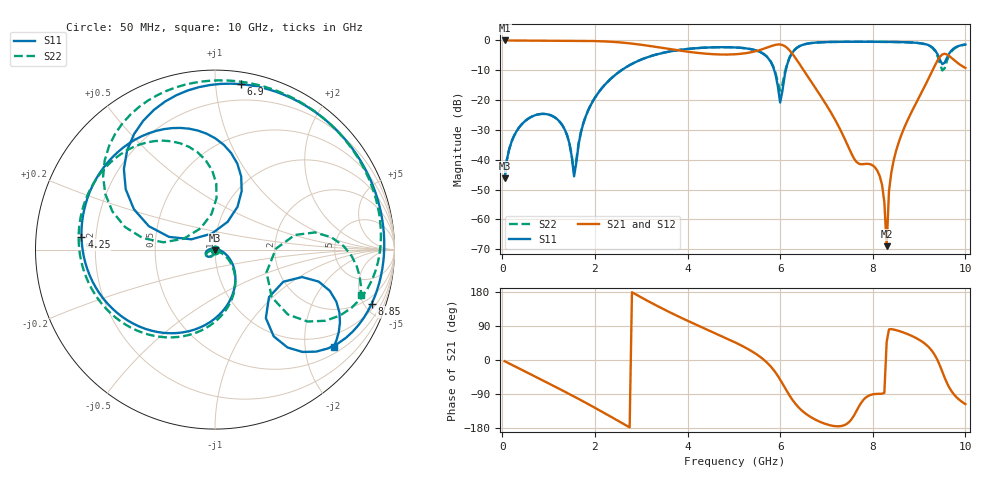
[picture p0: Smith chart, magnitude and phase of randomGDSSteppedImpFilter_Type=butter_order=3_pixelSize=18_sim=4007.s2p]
! freq	dB(S11)	phase(S11)	dB(S12)	phase(S12)
!  dB(S21)	phase(S21)	dB(S22)	phase(S22)
!S-par simulation data
#  GHz  S  DB  R 50
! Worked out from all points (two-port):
!   200 points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, 50 MHz to 10 GHz, reference 50 ohm
!   highest |S21| = 0.00 dB at 50 MHz (marker M1); lowest = -69.0 dB at 8.3 GHz (marker M2)
!   |S21| within 3 dB of the highest: start of sweep to 3.662 GHz; 5.604 GHz to 6.183 GHz (579.4 MHz wide, 9.83 % of centre)
!   lowest |S11| = -46.3 dB at 50 MHz (marker M3), VSWR 1.01, Z = 50 - j0.485 ohm
!   |S11| at or under -10 dB: start of sweep to 2.573 GHz; 5.872 GHz to 6.123 GHz (250.5 MHz wide, 4.18 % of centre)
!   |S22| runs from -46.2 to -0.4 dB; largest |S21 - S12| = 0
!   S11 on the Smith chart (normalised r, x): 50 MHz: 1.00, -0.01; 4.25 GHz: 0.14, +0.05; 6.9 GHz: 0.08, +1.16; 8.85 GHz: 1.36, -5.61; 10 GHz: 0.66, -2.65
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0.05  -46.28 -89.0  -0.00 -3.1  -0.00 -3.1  -46.18 -87.3
0.3  -30.65 -108.7  -0.04 -18.5  -0.04 -18.5  -30.66 -107.1
0.85  -24.64 -145.2  -0.08 -52.4  -0.08 -52.4  -24.64 -140.0
1.35  -29.92 177.7  -0.11 -83.6  -0.11 -83.6  -29.92 -164.5
1.55  -45.57 98.8  -0.12 -96.4  -0.12 -96.4  -43.91 -108.6
1.75  -27.82 -14.0  -0.14 -109.4  -0.14 -109.4  -27.71 -28.5
2.55  -10.25 -75.9  -0.67 -163.9  -0.67 -163.9  -10.22 -74.1
3.4  -4.42 -134.5  -2.37 139.2  -2.37 139.2  -4.41 -128.3
4.25  -2.53 174.6  -4.23 89.7  -4.23 89.7  -2.51 -175.3
5.05  -2.37 128.9  -4.61 45.1  -4.61 45.1  -2.35 143.1
5.75  -6.11 75.4  -2.21 -11.0  -2.21 -11.0  -6.00 96.0
6  -20.82 101.3  -1.36 -51.8  -1.36 -51.8  -16.89 124.2
6.25  -4.43 145.9  -4.19 -102.5  -4.19 -102.5  -4.29 159.6
6.7  -0.82 95.6  -14.51 -153.5  -14.51 -153.5  -0.81 113.9
6.9  -0.60 81.2  -19.23 -165.2  -19.23 -165.2  -0.60 100.5
8.15  -0.46 15.0  -45.48 -89.2  -45.48 -89.2  -0.47 36.7
8.3  -0.48 7.9  -68.98 47.7  -68.98 47.7  -0.49 29.5
8.35  -0.49 5.5  -50.54 80.7  -50.54 80.7  -0.49 27.1
8.85  -0.69 -19.1  -23.59 63.1  -23.59 63.1  -0.70 1.4
9.45  -6.46 -53.4  -5.47 -14.9  -5.47 -14.9  -7.70 -40.0
9.65  -4.38 -17.1  -5.21 -72.3  -5.21 -72.3  -4.95 9.7
10  -1.36 -39.4  -9.21 -116.4  -9.21 -116.4  -1.40 -17.2
